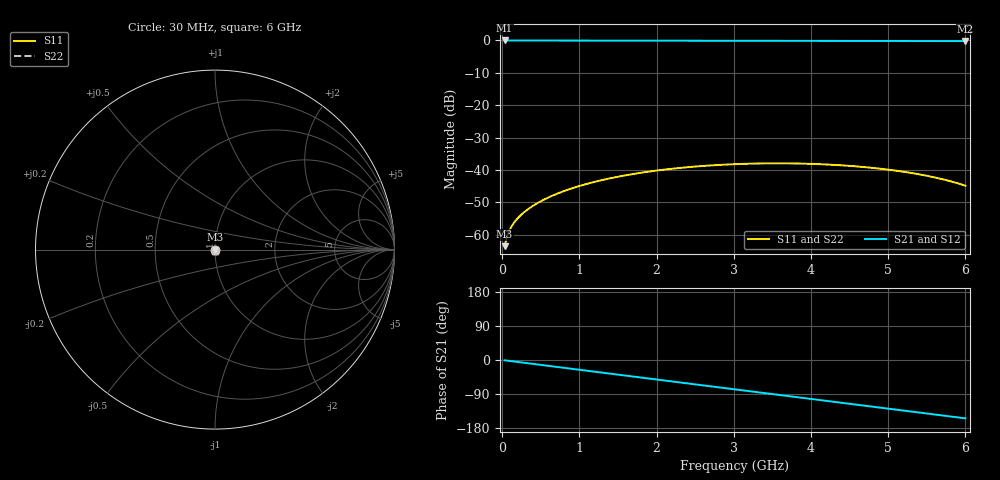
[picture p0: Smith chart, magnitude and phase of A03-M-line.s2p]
! yapnr Order 0 O0-M: O0-M A03 M dL13 (line, family M)
! stackup OSHPARK-4L-FR408HR, nominal parameters; geometry of the OSHPARK-4L-FR408HR design
! model: 2D quasi-static RLGC (Djordjevic-Sarkar, Huray roughness, Wheeler loss); generated by python -m yapnr.rf.coupons expected --stackup OSHPARK-4L-FR408HR --upload M
! reference planes 10 mm from each end; 50 ohm (from the M line's Zc)
# GHz S DB R 50
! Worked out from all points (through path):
!   200 points, 30 MHz to 6 GHz, reference 50 ohm
!   highest |S21| = -0.01 dB at 30 MHz (marker M1); lowest = -0.2 dB at 6 GHz (marker M2)
!   group delay of S21, straight-line fit = 71.2 ps
!   lowest |S11| = -63.5 dB at 30 MHz (marker M3), VSWR 1.00, Z = 50 + j0.0455 ohm
!   |S11| at or under -10 dB: start of sweep to end of sweep
!   |S22| runs from -63.5 to -37.9 dB; largest |S21 - S12| = 0
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0.03  -63.49 42.9  -0.01 -0.8  -0.01 -0.8  -63.49 42.9
0.06  -60.52 44.3  -0.01 -1.6  -0.01 -1.6  -60.52 44.3
0.09  -58.71 45.4  -0.01 -2.4  -0.01 -2.4  -58.71 45.4
0.12  -57.38 46.3  -0.01 -3.1  -0.01 -3.1  -57.38 46.3
0.15  -56.31 47.0  -0.01 -3.9  -0.01 -3.9  -56.31 47.0
0.21  -54.61 48.1  -0.02 -5.5  -0.02 -5.5  -54.61 48.1
0.3  -52.67 49.2  -0.02 -7.8  -0.02 -7.8  -52.67 49.2
0.45  -50.27 49.7  -0.03 -11.7  -0.03 -11.7  -50.27 49.7
0.6  -48.43 49.1  -0.03 -15.6  -0.03 -15.6  -48.43 49.1
0.81  -46.40 47.3  -0.04 -21.0  -0.04 -21.0  -46.40 47.3
1.05  -44.57 44.1  -0.05 -27.1  -0.05 -27.1  -44.57 44.1
1.5  -42.05 36.5  -0.06 -38.7  -0.06 -38.7  -42.05 36.5
2.04  -40.03 25.7  -0.08 -52.5  -0.08 -52.5  -40.03 25.7
2.55  -38.82 14.7  -0.10 -65.6  -0.10 -65.6  -38.82 14.7
3.03  -38.17 3.9  -0.11 -77.9  -0.11 -77.9  -38.17 3.9
3.51  -37.92 -7.1  -0.13 -90.2  -0.13 -90.2  -37.92 -7.1
4.02  -38.10 -19.0  -0.14 -103.3  -0.14 -103.3  -38.10 -19.0
4.53  -38.76 -31.0  -0.16 -116.4  -0.16 -116.4  -38.76 -31.0
5.01  -39.90 -42.2  -0.17 -128.7  -0.17 -128.7  -39.90 -42.2
5.55  -42.01 -54.8  -0.19 -142.5  -0.19 -142.5  -42.01 -54.8
5.79  -43.35 -60.2  -0.19 -148.6  -0.19 -148.6  -43.35 -60.2
6  -44.82 -64.8  -0.20 -154.0  -0.20 -154.0  -44.82 -64.8
